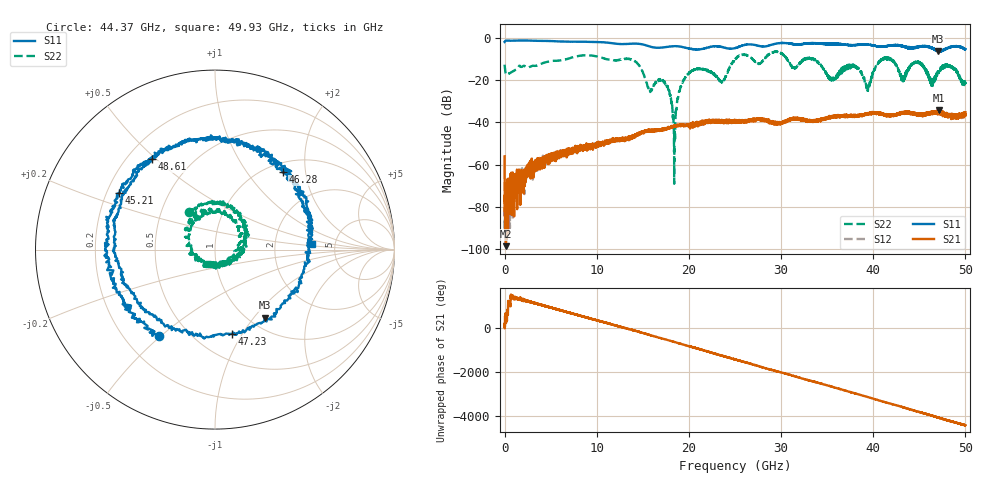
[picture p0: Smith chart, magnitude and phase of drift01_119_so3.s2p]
!Created with skrf (http://scikit-rf.org).
# Hz S RI R 50.0
!freq ReS11 ImS11 ReS21 ImS21 ReS12 ImS12 ReS22 ImS22
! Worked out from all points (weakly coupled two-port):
!   10001 points, 300 kHz to 50 GHz, reference 50 ohm
!   highest |S21| = -34.24 dB at 47.1 GHz (marker M1); lowest = -98.5 dB at 150.3 MHz (marker M2)
!   lowest |S11| = -6.5 dB at 47.07 GHz (marker M3), VSWR 2.78, Z = 58.9 - j57.2 ohm
!   |S11| at or under -10 dB: nowhere
!   |S22| runs from -69.1 to -6.6 dB; largest |S21 - S12| = 0.0048
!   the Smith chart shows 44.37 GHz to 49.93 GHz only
!   S11 on the Smith chart (normalised r, x): 44.37 GHz: 0.34, -0.49; 45.21 GHz: 0.25, +0.26; 46.28 GHz: 1.18, +1.52; 47.23 GHz: 0.74, -0.91; 48.61 GHz: 0.30, +0.48; 49.93 GHz: 3.31, +0.28
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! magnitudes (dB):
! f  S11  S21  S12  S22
! 300 kHz  -2.1  -56.1  -56.5  -12.8
! 150.3 MHz  -1.5  -98.5  -85.8  -17.3
! 8.335 GHz  -1.9  -51.9  -51.6  -8.5
! 16.67 GHz  -4.8  -43.5  -43.6  -20.0
! 17.74 GHz  -4.3  -42.8  -42.7  -24.2
! 18.44 GHz  -4.1  -42.0  -41.8  -46.8
! 19.95 GHz  -5.1  -41.4  -41.5  -17.1
! 23.63 GHz  -4.5  -39.5  -39.3  -20.7
! 25 GHz  -5.0  -39.6  -39.5  -10.3
! 33.34 GHz  -2.6  -39.5  -39.3  -9.9
! 39.46 GHz  -3.3  -35.7  -36.0  -23.0
! 41.67 GHz  -3.8  -36.5  -37.1  -10.2
! 43.19 GHz  -4.1  -35.6  -35.8  -19.7
! 44.37 GHz  -4.8  -36.1  -36.1  -11.9
! 45.21 GHz  -4.1  -36.8  -36.4  -12.5
! 46.28 GHz  -4.8  -36.1  -35.6  -21.8
! 47.07 GHz  -6.5  -36.0  -35.6  -16.1
! 47.1 GHz  -6.4  -34.2  -35.2  -16.6
! 47.23 GHz  -6.4  -35.6  -35.6  -15.2
! 48.61 GHz  -4.2  -37.2  -37.1  -14.6
! 49.93 GHz  -5.4  -36.3  -36.9  -20.9
! 50 GHz  -5.5  -35.2  -36.4  -21.9
